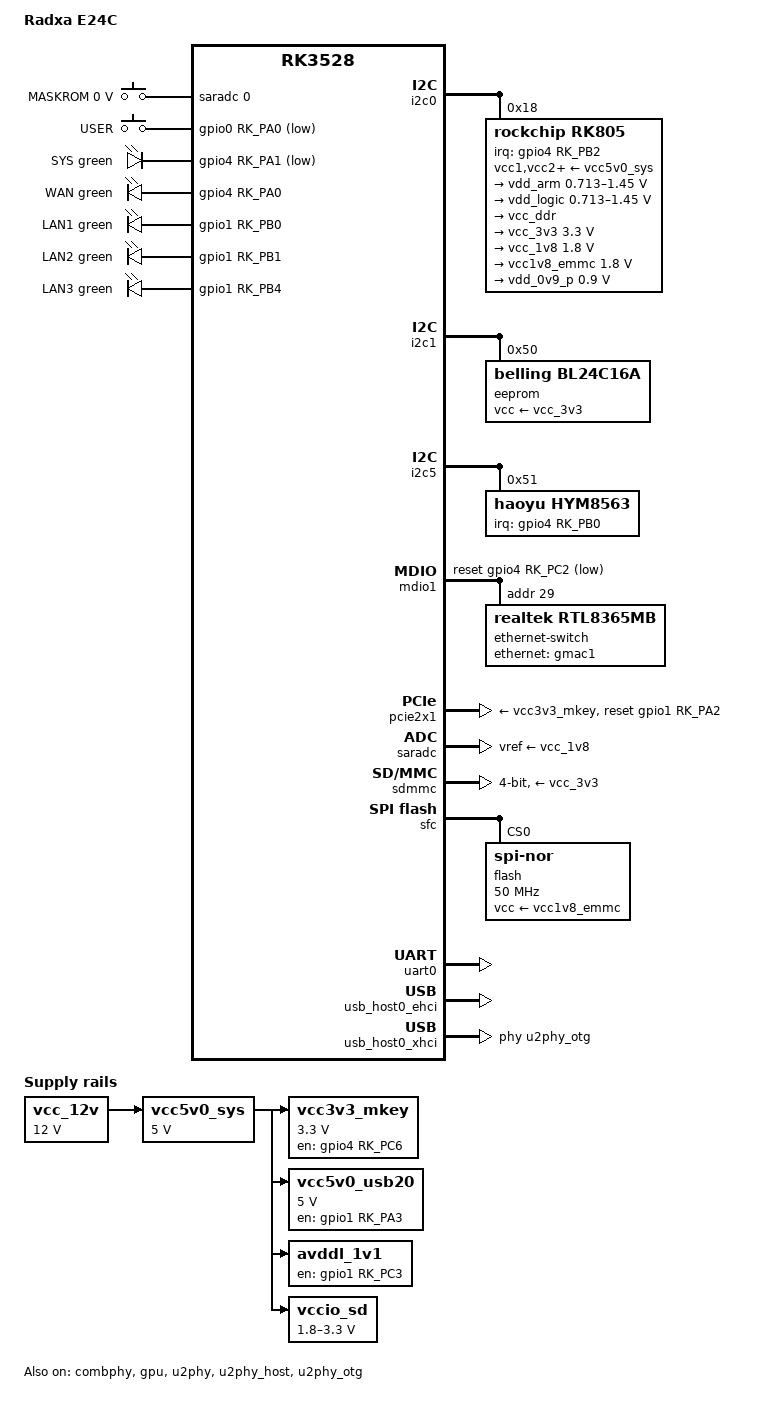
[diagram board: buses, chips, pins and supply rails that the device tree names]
// SPDX-License-Identifier: (GPL-2.0+ OR MIT)

/dts-v1/;

#include <dt-bindings/input/input.h>
#include <dt-bindings/leds/common.h>
#include "rk3528.dtsi"

/ {
	model = "Radxa E24C";
	compatible = "radxa,e24c", "rockchip,rk3528";

	aliases {
		i2c0 = &i2c0;
		i2c1 = &i2c1;
		i2c5 = &i2c5;
		mmc0 = &sdhci;
		mmc1 = &sdmmc;
		rtc0 = &hym8563;
		rtc1 = &rk805;
		serial0 = &uart0;
	};

	chosen {
		stdout-path = "serial0:1500000n8";
	};

	adc-keys {
		compatible = "adc-keys";
		io-channels = <&saradc 0>;
		io-channel-names = "buttons";
		keyup-threshold-microvolt = <1800000>;
		poll-interval = <100>;

		button-maskrom {
			label = "MASKROM";
			linux,code = <KEY_SETUP>;
			press-threshold-microvolt = <0>;
		};
	};

	gpio-keys {
		compatible = "gpio-keys";
		pinctrl-names = "default";
		pinctrl-0 = <&gpio0_a0_user>;

		button-user {
			gpios = <&gpio0 RK_PA0 GPIO_ACTIVE_LOW>;
			label = "USER";
			linux,code = <BTN_1>;
			wakeup-source;
		};
	};

	leds {
		compatible = "gpio-leds";

		led-0 {
			color = <LED_COLOR_ID_GREEN>;
			default-state = "on";
			function = LED_FUNCTION_HEARTBEAT;
			gpios = <&gpio4 RK_PA1 GPIO_ACTIVE_LOW>;
			label = "SYS";
			linux,default-trigger = "heartbeat";
			pinctrl-names = "default";
			pinctrl-0 = <&sys_led_g>;
		};

		led-1 {
			color = <LED_COLOR_ID_GREEN>;
			default-state = "off";
			function = LED_FUNCTION_WAN;
			gpios = <&gpio4 RK_PA0 GPIO_ACTIVE_HIGH>;
			label = "WAN";
			linux,default-trigger = "netdev";
			pinctrl-names = "default";
			pinctrl-0 = <&wan_led_g>;
		};

		led-2 {
			color = <LED_COLOR_ID_GREEN>;
			default-state = "off";
			function = LED_FUNCTION_LAN;
			gpios = <&gpio1 RK_PB0 GPIO_ACTIVE_HIGH>;
			label = "LAN1";
			linux,default-trigger = "netdev";
			pinctrl-names = "default";
			pinctrl-0 = <&lan1_led_g>;
		};

		led-3 {
			color = <LED_COLOR_ID_GREEN>;
			default-state = "off";
			function = LED_FUNCTION_LAN;
			gpios = <&gpio1 RK_PB1 GPIO_ACTIVE_HIGH>;
			label = "LAN2";
			linux,default-trigger = "netdev";
			pinctrl-names = "default";
			pinctrl-0 = <&lan2_led_g>;
		};

		led-4 {
			color = <LED_COLOR_ID_GREEN>;
			default-state = "off";
			function = LED_FUNCTION_LAN;
			gpios = <&gpio1 RK_PB4 GPIO_ACTIVE_HIGH>;
			label = "LAN3";
			linux,default-trigger = "netdev";
			pinctrl-names = "default";
			pinctrl-0 = <&lan3_led_g>;
		};
	};

	vcc3v3_mkey: regulator-3v3-vcc-mkey {
		compatible = "regulator-fixed";
		enable-active-high;
		gpios = <&gpio4 RK_PC6 GPIO_ACTIVE_HIGH>;
		pinctrl-names = "default";
		pinctrl-0 = <&mkey_pwr_en>;
		regulator-name = "vcc3v3_mkey";
		regulator-min-microvolt = <3300000>;
		regulator-max-microvolt = <3300000>;
		vin-supply = <&vcc5v0_sys>;
	};

	vcc5v0_sys: regulator-5v0-vcc-sys {
		compatible = "regulator-fixed";
		regulator-name = "vcc5v0_sys";
		regulator-always-on;
		regulator-boot-on;
		regulator-min-microvolt = <5000000>;
		regulator-max-microvolt = <5000000>;
		vin-supply = <&vcc_12v>;
	};

	vcc5v0_usb20: regulator-5v0-vcc-usb20 {
		compatible = "regulator-fixed";
		enable-active-high;
		gpios = <&gpio1 RK_PA3 GPIO_ACTIVE_HIGH>;
		pinctrl-names = "default";
		pinctrl-0 = <&usb_host_en>;
		regulator-name = "vcc5v0_usb20";
		regulator-min-microvolt = <5000000>;
		regulator-max-microvolt = <5000000>;
		vin-supply = <&vcc5v0_sys>;
	};

	vcc_12v: regulator-12v0-vcc {
		compatible = "regulator-fixed";
		regulator-name = "vcc_12v";
		regulator-always-on;
		regulator-boot-on;
		regulator-min-microvolt = <12000000>;
		regulator-max-microvolt = <12000000>;
	};

	avddl_1v1: avddh_3v3: avdd_rtl8367rb: regulator-avdd-rtl8367rb {
		compatible = "regulator-fixed";
		enable-active-high;
		gpios = <&gpio1 RK_PC3 GPIO_ACTIVE_HIGH>;
		pinctrl-names = "default";
		pinctrl-0 = <&gpio_8367_en>;
		regulator-name = "avdd_rtl8367rb";
		startup-delay-us = <10000>;
		vin-supply = <&vcc5v0_sys>;
	};

	vccio_sd: regulator-vccio-sd {
		compatible = "regulator-gpio";
		gpios = <&gpio4 RK_PB6 GPIO_ACTIVE_HIGH>;
		pinctrl-names = "default";
		pinctrl-0 = <&sdmmc_vol_ctrl_h>;
		regulator-name = "vccio_sd";
		regulator-min-microvolt = <1800000>;
		regulator-max-microvolt = <3300000>;
		states = <1800000 0x0>, <3300000 0x1>;
		vin-supply = <&vcc5v0_sys>;
	};
};

&combphy {
	status = "okay";
};

&cpu0 {
	cpu-supply = <&vdd_arm>;
};

&cpu1 {
	cpu-supply = <&vdd_arm>;
};

&cpu2 {
	cpu-supply = <&vdd_arm>;
};

&cpu3 {
	cpu-supply = <&vdd_arm>;
};

&gmac1 {
	/delete-property/ snps,tso;
	clock_in_out = "output";
	phy-mode = "rgmii-id";
	phy-supply = <&avdd_rtl8367rb>;
	pinctrl-names = "default";
	pinctrl-0 = <&rgmii_miim>, <&rgmii_tx_bus2>, <&rgmii_rx_bus2>,
		    <&rgmii_rgmii_clk>, <&rgmii_rgmii_bus>, <&gmac1_rstn_l>;
	status = "disabled"; // wont work due to lack of dsa switch chip support in u-boot

	fixed-link {
		speed = <1000>;
		full-duplex;
	};
};

&gpu {
	mali-supply = <&vdd_logic>;
	status = "okay";
};

&i2c0 {
	pinctrl-names = "default";
	pinctrl-0 = <&i2c0m0_xfer>;
	status = "okay";

	rk805: pmic@18 {
		compatible = "rockchip,rk805";
		reg = <0x18>;
		interrupt-parent = <&gpio4>;
		interrupts = <RK_PB2 IRQ_TYPE_LEVEL_LOW>;
		#clock-cells = <1>;
		clock-output-names = "rk805-clkout1", "rk805-clkout2";
		gpio-controller;
		#gpio-cells = <2>;
		pinctrl-names = "default";
		pinctrl-0 = <&pmic_int>;
		system-power-controller;
		wakeup-source;

		vcc1-supply = <&vcc5v0_sys>;
		vcc2-supply = <&vcc5v0_sys>;
		vcc3-supply = <&vcc5v0_sys>;
		vcc4-supply = <&vcc5v0_sys>;
		vcc5-supply = <&vcc5v0_sys>;
		vcc6-supply = <&vcc5v0_sys>;

		regulators {
			vdd_arm: DCDC_REG1 {
				regulator-name = "vdd_arm";
				regulator-always-on;
				regulator-boot-on;
				regulator-min-microvolt = <712500>;
				regulator-max-microvolt = <1450000>;
				regulator-ramp-delay = <12500>;

				regulator-state-mem {
					regulator-on-in-suspend;
				};
			};

			vdd_logic: DCDC_REG2 {
				regulator-name = "vdd_logic";
				regulator-always-on;
				regulator-boot-on;
				regulator-min-microvolt = <712500>;
				regulator-max-microvolt = <1450000>;
				regulator-ramp-delay = <12500>;

				regulator-state-mem {
					regulator-on-in-suspend;
				};
			};

			vcc_ddr: DCDC_REG3 {
				regulator-name = "vcc_ddr";
				regulator-always-on;
				regulator-boot-on;

				regulator-state-mem {
					regulator-on-in-suspend;
				};
			};

			vcc_3v3: DCDC_REG4 {
				regulator-name = "vcc_3v3";
				regulator-always-on;
				regulator-boot-on;
				regulator-min-microvolt = <3300000>;
				regulator-max-microvolt = <3300000>;

				regulator-state-mem {
					regulator-on-in-suspend;
					regulator-suspend-microvolt = <3300000>;
				};
			};

			vcc_1v8: LDO_REG1 {
				regulator-name = "vcc_1v8";
				regulator-always-on;
				regulator-boot-on;
				regulator-min-microvolt = <1800000>;
				regulator-max-microvolt = <1800000>;

				regulator-state-mem {
					regulator-on-in-suspend;
					regulator-suspend-microvolt = <1800000>;
				};
			};

			vcc1v8_emmc: LDO_REG2 {
				regulator-name = "vcc1v8_emmc";
				regulator-always-on;
				regulator-boot-on;
				regulator-min-microvolt = <1800000>;
				regulator-max-microvolt = <1800000>;

				regulator-state-mem {
					regulator-on-in-suspend;
					regulator-suspend-microvolt = <1800000>;
				};
			};

			vdd_0v9_p: LDO_REG3 {
				regulator-name = "vdd_0v9_p";
				regulator-always-on;
				regulator-boot-on;
				regulator-min-microvolt = <900000>;
				regulator-max-microvolt = <900000>;

				regulator-state-mem {
					regulator-on-in-suspend;
					regulator-suspend-microvolt = <900000>;
				};
			};
		};
	};
};

&i2c1 {
	pinctrl-names = "default";
	pinctrl-0 = <&i2c1m0_xfer>;
	status = "okay";

	eeprom@50 {
		compatible = "belling,bl24c16a", "atmel,24c16";
		reg = <0x50>;
		pagesize = <16>;
		read-only;
		vcc-supply = <&vcc_3v3>;
	};
};

&i2c5 {
	pinctrl-names = "default";
	pinctrl-0 = <&i2c5m0_xfer>;
	status = "okay";

	hym8563: rtc@51 {
		compatible = "haoyu,hym8563";
		reg = <0x51>;
		#clock-cells = <0>;
		interrupt-parent = <&gpio4>;
		interrupts = <RK_PB0 IRQ_TYPE_LEVEL_LOW>;
		pinctrl-names = "default";
		pinctrl-0 = <&rtc_int_l>;
		wakeup-source;
	};
};

&mdio1 {
	reset-delay-us = <25000>;
	reset-gpios = <&gpio4 RK_PC2 GPIO_ACTIVE_LOW>;
	reset-post-delay-us = <100000>;

	ethernet-switch@1d {
		compatible = "realtek,rtl8365mb";
		reg = <0x1d>;
		pinctrl-names = "default";
		pinctrl-0 = <&rtl8367rb_eint>;

		ethernet-ports {
			#address-cells = <1>;
			#size-cells = <0>;

			ethernet-port@0 {
				reg = <0>;
				label = "wan";
			};

			ethernet-port@1 {
				reg = <1>;
				label = "lan1";
			};

			ethernet-port@2 {
				reg = <2>;
				label = "lan2";
			};

			ethernet-port@3 {
				reg = <3>;
				label = "lan3";
			};

			ethernet-port@6 {
				reg = <6>;
				ethernet = <&gmac1>;
				label = "cpu";
				phy-mode = "rgmii-id";
				rx-internal-delay-ps = <2000>;
				tx-internal-delay-ps = <2000>;

				fixed-link {
					speed = <1000>;
					full-duplex;
				};
			};
		};

		interrupt-controller {
			interrupt-parent = <&gpio1>;
			interrupts = <RK_PC2 IRQ_TYPE_LEVEL_LOW>;
			interrupt-controller;
			#address-cells = <0>;
			#interrupt-cells = <1>;
		};
	};
};

&pcie2x1 {
	pinctrl-names = "default";
	pinctrl-0 = <&pciem1_pins>;
	reset-gpios = <&gpio1 RK_PA2 GPIO_ACTIVE_HIGH>;
	vpcie3v3-supply = <&vcc3v3_mkey>;
	status = "okay";
};

&pinctrl {
	ethernet {
		gmac1_rstn_l: gmac1-rstn-l {
			rockchip,pins = <4 RK_PC2 RK_FUNC_GPIO &pcfg_pull_none>;
		};

		gpio_8367_en: gpio-8367-en {
			rockchip,pins = <1 RK_PC3 RK_FUNC_GPIO &pcfg_pull_none>;
		};

		rtl8367rb_eint: rtl8367rb-eint {
			rockchip,pins = <1 RK_PC2 RK_FUNC_GPIO &pcfg_pull_up>;
		};
	};

	gpio-keys {
		gpio0_a0_user: gpio0-a0-user {
			rockchip,pins = <0 RK_PA0 RK_FUNC_GPIO &pcfg_pull_up>;
		};
	};

	leds {
		lan1_led_g: lan1-led-g {
			rockchip,pins = <1 RK_PB0 RK_FUNC_GPIO &pcfg_pull_none>;
		};

		lan2_led_g: lan2-led-g {
			rockchip,pins = <1 RK_PB1 RK_FUNC_GPIO &pcfg_pull_none>;
		};

		lan3_led_g: lan3-led-g {
			rockchip,pins = <1 RK_PB4 RK_FUNC_GPIO &pcfg_pull_none>;
		};

		sys_led_g: sys-led-g {
			rockchip,pins = <4 RK_PA1 RK_FUNC_GPIO &pcfg_pull_none>;
		};

		wan_led_g: wan-led-g {
			rockchip,pins = <4 RK_PA0 RK_FUNC_GPIO &pcfg_pull_none>;
		};
	};

	pcie {
		mkey_pwr_en: mkey-pwr-en {
			rockchip,pins = <4 RK_PC6 RK_FUNC_GPIO &pcfg_pull_none>;
		};
	};

	pmic {
		pmic_int: pmic-int {
			rockchip,pins = <4 RK_PB2 RK_FUNC_GPIO &pcfg_pull_up>;
		};
	};

	rtc {
		rtc_int_l: rtc-int-l {
			rockchip,pins = <4 RK_PB0 RK_FUNC_GPIO &pcfg_pull_up>;
		};
	};

	sdmmc {
		sdmmc_vol_ctrl_h: sdmmc-vol-ctrl-h {
			rockchip,pins = <4 RK_PB6 RK_FUNC_GPIO &pcfg_pull_none>;
		};
	};

	usb {
		usb_host_en: usb-host-en {
			rockchip,pins = <1 RK_PA3 RK_FUNC_GPIO &pcfg_pull_none>;
		};
	};
};

&saradc {
	vref-supply = <&vcc_1v8>;
	status = "okay";
};

&sdhci {
	bus-width = <8>;
	cap-mmc-highspeed;
	mmc-hs200-1_8v;
	no-sd;
	no-sdio;
	non-removable;
	vmmc-supply = <&vcc_3v3>;
	vqmmc-supply = <&vcc1v8_emmc>;
	status = "fail";
};

&sdmmc {
	bus-width = <4>;
	cap-mmc-highspeed;
	cap-sd-highspeed;
	disable-wp;
	sd-uhs-sdr104;
	vmmc-supply = <&vcc_3v3>;
	vqmmc-supply = <&vccio_sd>;
	status = "okay";
};

&sfc {
	pinctrl-names = "default";
	pinctrl-0 = <&fspi_csn0>, <&fspi_pins>;
	status = "okay";

	flash@0 {
		compatible = "jedec,spi-nor";
		reg = <0>;
		spi-max-frequency = <50000000>;
		spi-rx-bus-width = <4>;
		spi-tx-bus-width = <1>;
		vcc-supply = <&vcc1v8_emmc>;
	};
};

&u2phy {
	status = "okay";
};

&u2phy_host {
	phy-supply = <&vcc5v0_usb20>;
	status = "okay";
};

&u2phy_otg {
	status = "okay";
};

&uart0 {
	pinctrl-names = "default";
	pinctrl-0 = <&uart0m0_xfer>;
	status = "okay";
};

&usb_host0_ehci {
	status = "okay";
};

&usb_host0_xhci {
	extcon = <&u2phy>;
	maximum-speed = "high-speed";
	phys = <&u2phy_otg>;
	phy-names = "usb2-phy";
	status = "okay";
};
